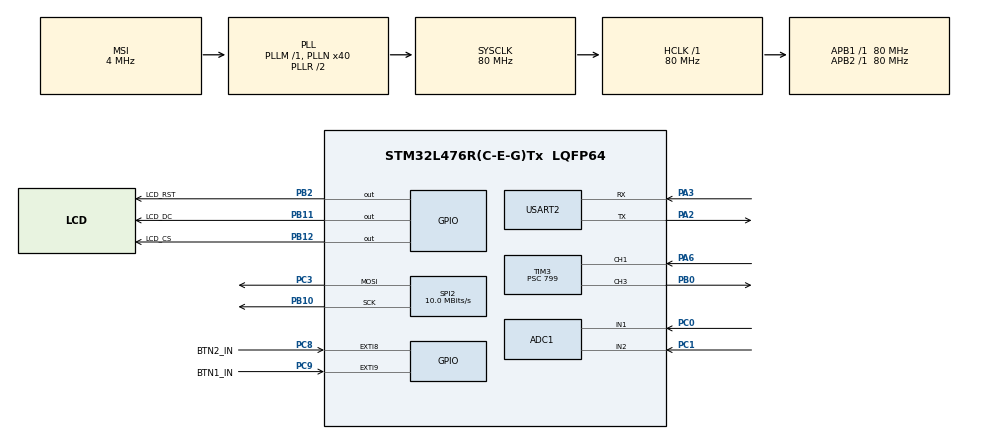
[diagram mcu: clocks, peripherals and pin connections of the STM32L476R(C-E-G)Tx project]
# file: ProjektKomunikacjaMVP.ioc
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ADC1.Channel-1\#ChannelRegularConversion=ADC_CHANNEL_1
ADC1.Channel-2\#ChannelRegularConversion=ADC_CHANNEL_2
ADC1.ContinuousConvMode=ENABLE
ADC1.DMAContinuousRequests=ENABLE
ADC1.NbrOfConversion=2
ADC1.NbrOfConversionFlag=1
ADC1.OffsetNumber-1\#ChannelRegularConversion=ADC_OFFSET_NONE
ADC1.OffsetNumber-2\#ChannelRegularConversion=ADC_OFFSET_NONE
ADC1.Overrun=ADC_OVR_DATA_OVERWRITTEN
ADC1.OversamplingMode=ENABLE
ADC1.Rank-1\#ChannelRegularConversion=1
ADC1.Rank-2\#ChannelRegularConversion=2
ADC1.Ratio=ADC_OVERSAMPLING_RATIO_16
ADC1.RightBitShift=ADC_RIGHTBITSHIFT_4
ADC1.SamplingTime-1\#ChannelRegularConversion=ADC_SAMPLETIME_640CYCLES_5
ADC1.SamplingTime-2\#ChannelRegularConversion=ADC_SAMPLETIME_640CYCLES_5
ADC1.master=1
Dma.ADC1.1.Direction=DMA_PERIPH_TO_MEMORY
Dma.ADC1.1.Instance=DMA1_Channel1
Dma.ADC1.1.MemDataAlignment=DMA_MDATAALIGN_HALFWORD
Dma.ADC1.1.MemInc=DMA_MINC_ENABLE
Dma.ADC1.1.Mode=DMA_CIRCULAR
Dma.ADC1.1.PeriphDataAlignment=DMA_PDATAALIGN_HALFWORD
Dma.ADC1.1.PeriphInc=DMA_PINC_DISABLE
Dma.ADC1.1.Priority=DMA_PRIORITY_LOW
Dma.Request0=SPI2_TX
Dma.Request1=ADC1
Dma.SPI2_TX.0.Direction=DMA_MEMORY_TO_PERIPH
Dma.SPI2_TX.0.Instance=DMA1_Channel5
Dma.SPI2_TX.0.MemDataAlignment=DMA_MDATAALIGN_BYTE
Dma.SPI2_TX.0.MemInc=DMA_MINC_ENABLE
Dma.SPI2_TX.0.Mode=DMA_NORMAL
Dma.SPI2_TX.0.PeriphDataAlignment=DMA_PDATAALIGN_BYTE
Dma.SPI2_TX.0.PeriphInc=DMA_PINC_DISABLE
Dma.SPI2_TX.0.Priority=DMA_PRIORITY_LOW
IWDG.Prescaler=IWDG_PRESCALER_16
Mcu.Family=STM32L4
Mcu.Name=STM32L476R(C-E-G)Tx
Mcu.Package=LQFP64
NVIC.DMA1_Channel1_IRQn=true\:1\:0\:true\:false\:true\:false\:true\:true
NVIC.DMA1_Channel5_IRQn=true\:1\:0\:true\:false\:true\:false\:true\:true
NVIC.EXTI9_5_IRQn=true\:3\:0\:true\:false\:true\:true\:true\:true
NVIC.PriorityGroup=NVIC_PRIORITYGROUP_4
NVIC.TIM1_BRK_TIM15_IRQn=true\:5\:0\:true\:false\:true\:true\:true\:true
NVIC.TIM1_CC_IRQn=true\:5\:0\:true\:false\:true\:true\:true\:true
NVIC.TIM1_TRG_COM_TIM17_IRQn=true\:5\:0\:true\:false\:true\:true\:true\:true
NVIC.TIM1_UP_TIM16_IRQn=true\:5\:0\:true\:false\:true\:true\:true\:true
NVIC.TIM3_IRQn=true\:5\:0\:true\:false\:true\:true\:true\:true
PA13\ (JTMS-SWDIO).Mode=Serial_Wire
PA13\ (JTMS-SWDIO).Signal=SYS_JTMS-SWDIO
PA14\ (JTCK-SWCLK).Mode=Serial_Wire
PA14\ (JTCK-SWCLK).Signal=SYS_JTCK-SWCLK
PA2.Mode=Asynchronous
PA2.Signal=USART2_TX
PA3.Mode=Asynchronous
PA3.Signal=USART2_RX
PA6.Signal=S_TIM3_CH1
PB0.Signal=S_TIM3_CH3
PB10.Mode=TX_Only_Simplex_Unidirect_Master
PB10.Signal=SPI2_SCK
PB11.GPIO_Label=LCD_DC
PB11.Signal=GPIO_Output
PB12.GPIO_Label=LCD_CS
PB12.PinState=GPIO_PIN_SET
PB12.Signal=GPIO_Output
PB2.GPIO_Label=LCD_RST
PB2.Signal=GPIO_Output
PC0.Signal=ADCx_IN1
PC1.Signal=ADCx_IN2
PC3.Mode=TX_Only_Simplex_Unidirect_Master
PC3.Signal=SPI2_MOSI
PC8.GPIO_Label=BTN2_IN
PC8.GPIO_PuPd=GPIO_PULLUP
PC8.Signal=GPXTI8
PC9.GPIO_Label=BTN1_IN
PC9.GPIO_PuPd=GPIO_PULLUP
PC9.Signal=GPXTI9
ProjectManager.HeapSize=0x200
ProjectManager.StackSize=0x2000
ProjectManager.TargetToolchain=STM32CubeIDE
RCC.ADCFreq_Value=32000000
RCC.AHBFreq_Value=80000000
RCC.APB1Freq_Value=80000000
RCC.APB1TimFreq_Value=80000000
RCC.APB2Freq_Value=80000000
RCC.APB2TimFreq_Value=80000000
RCC.CortexFreq_Value=80000000
RCC.HCLKFreq_Value=80000000
RCC.HSE_VALUE=8000000
RCC.HSI_VALUE=16000000
RCC.LSE_VALUE=32768
RCC.MSI_VALUE=4000000
RCC.PLLN=40
RCC.PLLSAI1N=16
RCC.SYSCLKFreq_VALUE=80000000
RCC.SYSCLKSource=RCC_SYSCLKSOURCE_PLLCLK
RCC.USBFreq_Value=32000000
RCC.VCOOutputFreq_Value=160000000
SH.ADCx_IN1.0=ADC1_IN1,IN1-Single-Ended
SH.ADCx_IN2.0=ADC1_IN2,IN2-Single-Ended
SH.S_TIM3_CH1.0=TIM3_CH1,Input_Capture1_from_TI1
SH.S_TIM3_CH3.0=TIM3_CH3,PWM Generation3 CH3
SPI2.BaudRatePrescaler=SPI_BAUDRATEPRESCALER_8
SPI2.CalculateBaudRate=10.0 MBits/s
SPI2.DataSize=SPI_DATASIZE_8BIT
SPI2.Direction=SPI_DIRECTION_2LINES
SPI2.Mode=SPI_MODE_MASTER
SPI2.NSSPMode=SPI_NSS_PULSE_DISABLE
SPI2.VirtualType=VM_MASTER
TIM1.Period=499
TIM1.Prescaler=7999
TIM1.RepetitionCounter=0
TIM16.Period=59999
TIM16.Prescaler=7999
TIM17.Period=59999
TIM17.Prescaler=7999
TIM3.Channel-Input_Capture1_from_TI1=TIM_CHANNEL_1
TIM3.Channel-Input_Capture2_from_TI1_63=TIM_CHANNEL_2
TIM3.Channel-PWM\ Generation3\ CH3=TIM_CHANNEL_3
TIM3.ICPolarity_CH2=TIM_INPUTCHANNELPOLARITY_FALLING
TIM3.OCFastMode_PWM-PWM\ Generation3\ CH3=TIM_OCFAST_DISABLE
TIM3.Period=999
TIM3.Prescaler=799
TIM3.Pulse-PWM\ Generation3\ CH3=100
USART2.VirtualMode-Asynchronous=VM_ASYNC
VP_IWDG_VS_IWDG.Mode=IWDG_Activate
VP_TIM16_VS_ClockSourceINT.Mode=Enable_Timer
VP_TIM17_VS_ClockSourceINT.Mode=Enable_Timer
VP_TIM1_VS_ClockSourceINT.Mode=Internal
VP_TIM3_VS_ClockSourceINT.Mode=Internal
VP_TIM3_VS_indirect_ch1.Mode=Input_Capture2_from_TI1_63
board=custom

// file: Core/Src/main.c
/* USER CODE BEGIN Header */
/**
 ******************************************************************************
 * @file           : main.c
 * @brief          : Main program body
 ******************************************************************************
 * @attention
 *
 * Copyright (c) 2024 STMicroelectronics.
 * All rights reserved.
 *
 * This software is licensed under terms that can be found in the LICENSE file
 * in the root directory of this software component.
 * If no LICENSE file comes with this software, it is provided AS-IS.
 *
 ******************************************************************************
 */
/* USER CODE END Header */
#include "main.h"
#include "adc.h"
#include "dma.h"
#include "iwdg.h"
#include "spi.h"
#include "tim.h"
#include "usart.h"
#include "gpio.h"

/* USER CODE BEGIN Includes */
#include <wchar.h>
#include <string.h>
#include <stdio.h>
#include <stdint.h>
#include <stdbool.h>
#include "lcd.h"
#include "gui.h"
#include "profiling.h"

/* USER CODE END Includes */

void SystemClock_Config(void);

/* USER CODE BEGIN 0 */

bool IS_RENDER_PROFILING_ENABLED = true;
bool IS_LCD_TRANSFER_PROFILING_ENABLED = true;

static const uint32_t GUI_PAGES_COUNT = 3;
typedef enum {
  JOYSTICK_DEMO,
  DISTANCE_SENSOR_DEMO,
  STATIC_SCREEN_DEMO
}gui_page;
// starting index can be changed here
volatile uint32_t gui_screen_index = 0;

volatile bool are_buttons_debounced = true;

// interrupts

void HAL_SPI_TxCpltCallback(SPI_HandleTypeDef *hspi)
{
	if (hspi == &hspi2)
	{
		lcd_data_transmit_done();

		finish_lcd_data_transfer_profiling();
	}
}

void HAL_TIM_PeriodElapsedCallback(TIM_HandleTypeDef *htim)
{
	if (htim == &htim1)
	{
		if(HAL_GPIO_ReadPin(BTN1_IN_GPIO_Port, BTN1_IN_Pin) == GPIO_PIN_RESET ||
		   HAL_GPIO_ReadPin(BTN2_IN_GPIO_Port, BTN2_IN_Pin) == GPIO_PIN_RESET)
		{
			are_buttons_debounced = true;
			if(HAL_TIM_Base_Stop_IT(&htim1) != HAL_OK)
				Error_Handler();
		}
	}

	if (htim == &htim16)
	{
	  printf("LCD data transfer timer MAX at 6 s\r\n");
	}

	if (htim == &htim17)
	{
	  printf("Render timer MAX at 6 s\r\n");
	}
}

void HAL_GPIO_EXTI_Callback(uint16_t GPIO_Pin)
{
	if(are_buttons_debounced)
	{
		//Next page button
		if (GPIO_Pin == BTN1_IN_Pin)
		{
			//circular loop
			if(gui_screen_index >= GUI_PAGES_COUNT - 1)
				gui_screen_index = 0;
			else
				gui_screen_index++;

			if(HAL_TIM_Base_Start_IT(&htim1) != HAL_OK)
				Error_Handler();
			are_buttons_debounced = false;
		}

		//Previous page button
		if (GPIO_Pin == BTN2_IN_Pin)
		{
			//circular loop
			if(gui_screen_index <= 0)
				gui_screen_index = GUI_PAGES_COUNT - 1;
			else
				gui_screen_index--;

			if(HAL_TIM_Base_Start_IT(&htim1) != HAL_OK)
				Error_Handler();
			are_buttons_debounced = false;
		}
	}
}

// program logic

int __io_putchar(int character)
{
	if (character == '\n')
	{
		uint8_t inserted_carriage_return = '\r';
		if(HAL_UART_Transmit(&huart2, &inserted_carriage_return, 1, HAL_MAX_DELAY) != HAL_OK)
			Error_Handler();
	}

	if(HAL_UART_Transmit(&huart2, (uint8_t*)&character, 1, HAL_MAX_DELAY) != HAL_OK)
		Error_Handler();
	return 1;
}

/* USER CODE END 0 */

int main(void)
{

  /* MCU Configuration--------------------------------------------------------*/

  /* Reset of all peripherals, Initializes the Flash interface and the Systick. */
  HAL_Init();

  /* Configure the system clock */
  SystemClock_Config();

  /* Initialize all configured peripherals */
  MX_GPIO_Init();
  MX_DMA_Init();
  MX_SPI2_Init();
  MX_ADC1_Init();
  MX_USART2_UART_Init();
  MX_TIM3_Init();
  MX_TIM1_Init();
  MX_TIM17_Init();
  MX_TIM16_Init();
  MX_IWDG_Init();

  /* Infinite loop */
  /* USER CODE BEGIN WHILE */

	const uint8_t TOP_BAR_HEIGHT = 20;
	volatile static uint16_t adc1_readings[2];

	// init distance sensor timer channels
	if(HAL_TIM_IC_Start(&htim3, TIM_CHANNEL_1) != HAL_OK)
		Error_Handler();
	if(HAL_TIM_IC_Start(&htim3, TIM_CHANNEL_2) != HAL_OK)
		Error_Handler();
	if(HAL_TIM_PWM_Start(&htim3, TIM_CHANNEL_3) != HAL_OK)
		Error_Handler();

	// initialize lcd
	HAL_Delay(1000);
	lcd_init();

	// setup ADC1 reading with DMA
	// channel 1: joystick X
	// channel 2: joystick Y

	if(HAL_ADCEx_Calibration_Start(&hadc1, ADC_SINGLE_ENDED) != HAL_OK)
		Error_Handler();
	if(HAL_ADC_Start_DMA(&hadc1, (uint32_t*) adc1_readings, 2) != HAL_OK)
		Error_Handler();

	init_profiling_timers();

	while (1)
	{
		// read distance sensor
		uint32_t distance_sensor_start = HAL_TIM_ReadCapturedValue(&htim3, TIM_CHANNEL_1);
		uint32_t distance_sensor_stop = HAL_TIM_ReadCapturedValue(&htim3, TIM_CHANNEL_2);

		// update screen
		if (!is_lcd_data_being_transmitted())
		{
			start_render_profiling();

			/* CONSISTENT GUI ELEMENTS BEGIN */
			draw_top_bar(TOP_BAR_HEIGHT);
			/* CONSISTENT GUI ELEMENTS END */

			/* GUI PAGES BEGIN */
			if(gui_screen_index == JOYSTICK_DEMO)
			{
				draw_joystick_demo(TOP_BAR_HEIGHT, 40, adc1_readings[0], adc1_readings[1]);
			}
			else if(gui_screen_index == DISTANCE_SENSOR_DEMO)
			{
				draw_distance_sensor_demo(TOP_BAR_HEIGHT, 40, (uint16_t)(distance_sensor_stop - distance_sensor_start));
			}
			else if(gui_screen_index == STATIC_SCREEN_DEMO)
			{
				draw_text_and_shapes_demo(TOP_BAR_HEIGHT);
			}
			/* GUI PAGES END */

			finish_render_profiling();
			lcd_copy_data();
			start_lcd_data_transfer_profiling();

			// watchdog
			if(HAL_IWDG_Refresh(&hiwdg) != HAL_OK)
				Error_Handler();
		}

	}

    /* USER CODE END WHILE */

}

void SystemClock_Config(void)
{
  RCC_OscInitTypeDef RCC_OscInitStruct = {0};
  RCC_ClkInitTypeDef RCC_ClkInitStruct = {0};

  /** Configure the main internal regulator output voltage
  */
  if (HAL_PWREx_ControlVoltageScaling(PWR_REGULATOR_VOLTAGE_SCALE1) != HAL_OK)
  {
    Error_Handler();
  }

  /** Initializes the RCC Oscillators according to the specified parameters
  * in the RCC_OscInitTypeDef structure.
  */
  RCC_OscInitStruct.OscillatorType = RCC_OSCILLATORTYPE_LSI|RCC_OSCILLATORTYPE_MSI;
  RCC_OscInitStruct.LSIState = RCC_LSI_ON;
  RCC_OscInitStruct.MSIState = RCC_MSI_ON;
  RCC_OscInitStruct.MSICalibrationValue = 0;
  RCC_OscInitStruct.MSIClockRange = RCC_MSIRANGE_6;
  RCC_OscInitStruct.PLL.PLLState = RCC_PLL_ON;
  RCC_OscInitStruct.PLL.PLLSource = RCC_PLLSOURCE_MSI;
  RCC_OscInitStruct.PLL.PLLM = 1;
  RCC_OscInitStruct.PLL.PLLN = 40;
  RCC_OscInitStruct.PLL.PLLP = RCC_PLLP_DIV7;
  RCC_OscInitStruct.PLL.PLLQ = RCC_PLLQ_DIV2;
  RCC_OscInitStruct.PLL.PLLR = RCC_PLLR_DIV2;
  if (HAL_RCC_OscConfig(&RCC_OscInitStruct) != HAL_OK)
  {
    Error_Handler();
  }

  /** Initializes the CPU, AHB and APB buses clocks
  */
  RCC_ClkInitStruct.ClockType = RCC_CLOCKTYPE_HCLK|RCC_CLOCKTYPE_SYSCLK
                              |RCC_CLOCKTYPE_PCLK1|RCC_CLOCKTYPE_PCLK2;
  RCC_ClkInitStruct.SYSCLKSource = RCC_SYSCLKSOURCE_PLLCLK;
  RCC_ClkInitStruct.AHBCLKDivider = RCC_SYSCLK_DIV1;
  RCC_ClkInitStruct.APB1CLKDivider = RCC_HCLK_DIV1;
  RCC_ClkInitStruct.APB2CLKDivider = RCC_HCLK_DIV1;

  if (HAL_RCC_ClockConfig(&RCC_ClkInitStruct, FLASH_LATENCY_4) != HAL_OK)
  {
    Error_Handler();
  }
}

void Error_Handler(void)
{
	__disable_irq();
	while (1)
	{
	}
}
